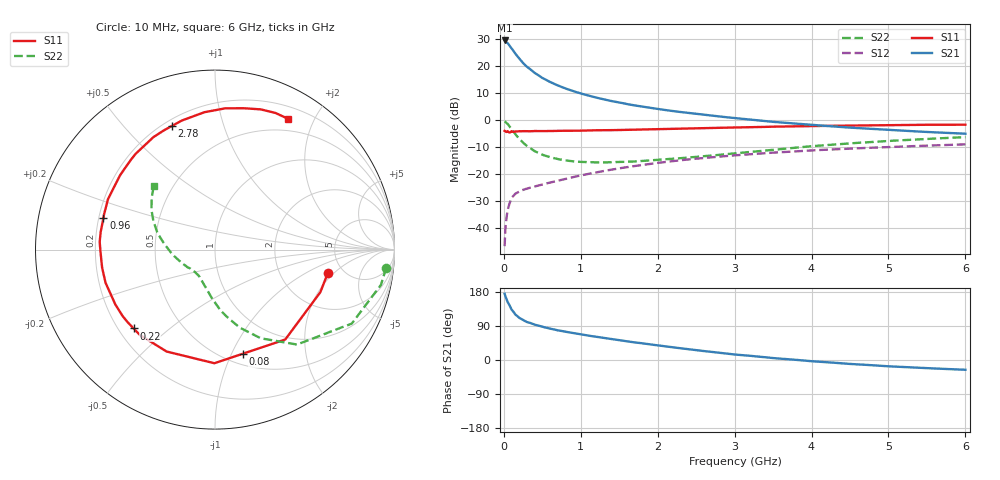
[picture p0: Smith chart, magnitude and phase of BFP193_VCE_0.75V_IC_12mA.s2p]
! Infineon Technologies  Discrete & RF Semiconductors
! BFP193
! VCE = 0.75V,  IC =  12 mA
! Common Emitter S-Parameters:  Jan 2016
# GHz  S  MA  R  50
!  f  S11  S21  S12  S22
! GHz  MAG  ANG  MAG  ANG  MAG  ANG  MAG  ANG
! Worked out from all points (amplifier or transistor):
!   210 points, 10 MHz to 6 GHz, reference 50 ohm
!   highest |S21| = 29.6 dB at 10 MHz (marker M1)
!   |S21| within 3 dB of that: start of sweep to 103.4 MHz
!   unconditionally stable (mu >= 1): 844.4 MHz to 4.594 GHz
!   at 185 MHz: K = 0.38, MSG = 25.0 dB, |S12| = -26.6 dB
!   at 1.52 GHz: K = 1.11, MAG = 10.1 dB, |S12| = -17.6 dB
!   at 6 GHz: K = 0.98, MSG = 2.0 dB, |S12| = -8.8 dB
!   S11 on the Smith chart (normalised r, x): 10 MHz: 3.81, -1.67; 80 MHz: 0.61, -1.10; 220 MHz: 0.26, -0.38; 960 MHz: 0.22, +0.13; 2.78 GHz: 0.23, +0.69; 6 GHz: 0.34, +1.65
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0.01  0.6422 -11.6  30.33 174.9  0.0047 84.6  0.9591 -6.1
0.02  0.6332 -22.0  29.45 168.0  0.0098 78.2  0.9454 -12.0
0.05  0.6357 -52.0  27.19 152.7  0.0221 66.9  0.8666 -28.4
0.08  0.6005 -75.1  23.62 142.0  0.0308 57.6  0.7535 -39.8
0.1  0.6332 -90.3  21.81 133.2  0.0368 53.9  0.6988 -49.2
0.15  0.6286 -115.4  17.18 119.8  0.0441 45.7  0.556 -62.7
0.2  0.6335 -131.3  13.98 111.3  0.0483 42.4  0.4577 -72.2
0.22  0.6312 -135.9  12.99 109.0  0.0498 41.5  0.4281 -74.8
0.26  0.634 -144.4  11.22 104.1  0.0525 40.3  0.376 -80.4
0.3  0.6338 -151.2  9.88 100.2  0.0547 40.3  0.3383 -85.0
0.4  0.6373 -163.2  7.62 93.3  0.0599 40.6  0.2704 -93.8
0.5  0.6369 -171.0  6.139 87.7  0.0652 42.2  0.2316 -100.6
0.7  0.6439 176.2  4.463 78.3  0.0766 45.0  0.1929 -111.1
0.96  0.6461 164.2  3.291 69.1  0.0934 47.0  0.1724 -121.3
1.02  0.6488 161.7  3.104 67.1  0.0972 47.3  0.1704 -123.3
1.4  0.6614 148.0  2.285 55.4  0.1226 47.3  0.1688 -134.6
2.02  0.6936 129.0  1.618 38.1  0.1651 43.7  0.1866 -151.2
2.78  0.7295 109.1  1.194 19.6  0.2126 36.4  0.2296 -170.8
3.1  0.7457 102.4  1.074 12.9  0.2313 32.9  0.253 -178.5
4.1  0.7912 84.3  0.81 -4.5  0.2836 22.0  0.3421 161.9
5.1  0.8231 70.8  0.659 -17.5  0.3261 11.3  0.4251 146.3
6  0.8348 60.9  0.569 -25.8  0.3611 1.7  0.4917 133.9
